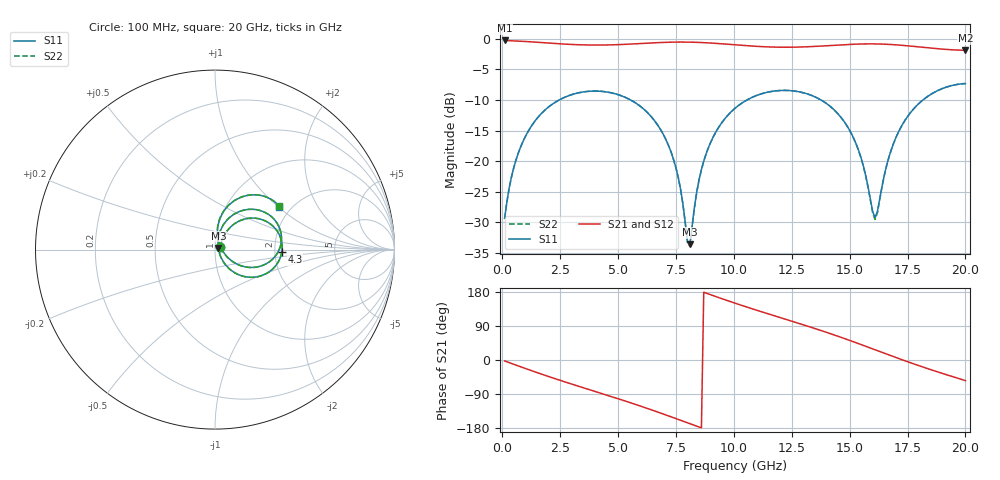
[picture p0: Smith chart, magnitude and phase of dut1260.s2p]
! Touchstone file exported from HFSS 2026.1.0
!  File:  C:/ffzhzh/LocalFiles/Ansys_Project_Files/temp_train_TSV_RDL_1260_1783326826_30076.aedt
!  Generated:  04:47:06 PM Jul  6, 2026
!  Design:  TSV_RDL
!  Project:  temp_train_TSV_RDL_1260_1783326826_30076
! Variables:
!  h_bsmrdl = 5.32um
!  h_ox = 20um
!  h_rdl = 5um
!  h_sub = 95.09um
!  h_tmrdl = 3.47um
!  h_tsv = 95.09um
!  h_via = 3um
!  l_bsmrdl = 841.24um
!  l_sub = 6587.6um
!  l_tmrdl = 885.97um
!  m_sub = 200um
!  pitch = 38.83um
!  r_tsv = 13.47um
!  s_tmrdl = 10um
!  w_bsmrdl = 22.62um
!  w_sub = 500um
!  w_tmrdl = 17.38um
!  x_tsv_center1 = 894.66um
!  x_tsv_center2 = 1758.52um
!  x_tsv_center3 = 2661.87um
!  x_tsv_center4 = 3525.73um
!  x_tsv_center5 = 4429.08um
!  x_tsv_center6 = 5292.94um
# GHz S MA R 50.000000
! Terminal data exported
! Port[1] = TM_RDL1_1_T1
! Port[2] = TM_RDL5_1_T1
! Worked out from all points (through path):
!   200 points, 100 MHz to 20 GHz, reference 50 ohm
!   highest |S21| = -0.26 dB at 100 MHz (marker M1); lowest = -1.9 dB at 20 GHz (marker M2)
!   group delay of S21, straight-line fit = 57.5 ps
!   lowest |S11| = -33.6 dB at 8.1 GHz (marker M3), VSWR 1.04, Z = 51.9 + j0.967 ohm
!   |S11| at or under -10 dB: start of sweep to 2.448 GHz; 5.549 GHz to 10.56 GHz (5.01 GHz wide, 62.2 % of centre); 13.77 GHz to 18.16 GHz (4.39 GHz wide, 27.5 % of centre)
!   |S22| runs from -33.9 to -7.3 dB; largest |S21 - S12| = 1.7e-14
!   S11 on the Smith chart (normalised r, x): 100 MHz: 1.06, +0.04; 4.3 GHz: 2.18, -0.07; 20 GHz: 1.74, +1.02
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0.1  0.03413 30.0  0.971 -2.4  0.971 -2.4  0.03413 30.0
! Gamma 0 0 0 0
! Port Impedance 50 0 50 0
0.5  0.08924 56.6  0.9631 -11.5  0.9631 -11.5  0.08924 56.6
1.2  0.1864 52.3  0.9473 -26.8  0.9473 -26.8  0.1864 52.3
3.5  0.3686 12.3  0.8931 -73.3  0.8931 -73.3  0.3686 12.3
4.3  0.3724 -2.0  0.8907 -88.6  0.8907 -88.6  0.3724 -2.1
5.6  0.3124 -25.7  0.9083 -114.1  0.9083 -114.1  0.3124 -25.8
6.8  0.1861 -47.4  0.9334 -139.2  0.9334 -139.2  0.1861 -47.6
7.5  0.08818 -55.3  0.9416 -154.6  0.9416 -154.6  0.08809 -55.8
7.8  0.04481 -48.5  0.9422 -161.3  0.9422 -161.3  0.04456 -49.3
8  0.02192 -13.8  0.9415 -165.7  0.9415 -165.7  0.02131 -14.8
8.1  0.02091 26.5  0.9408 -168.0  0.9408 -168.0  0.02022 26.8
8.4  0.05639 71.6  0.9374 -174.6  0.9374 -174.6  0.05607 72.2
8.8  0.1146 73.7  0.93 176.5  0.93 176.5  0.1144 74.0
10.1  0.2759 53.2  0.893 149.0  0.893 149.0  0.2757 53.2
11.7  0.3738 24.7  0.8574 117.7  0.8574 117.7  0.3737 24.7
13.4  0.3426 -4.9  0.8659 85.1  0.8659 85.1  0.3424 -5.0
15.1  0.1649 -32.2  0.9032 49.6  0.9032 49.6  0.1646 -32.5
15.6  0.0905 -32.4  0.9095 38.4  0.9095 38.4  0.08995 -33.1
16.1  0.03471 24.8  0.9099 27.0  0.9099 27.0  0.03345 25.0
16.7  0.1085 82.6  0.9016 13.3  0.9016 13.3  0.1082 83.3
18  0.2975 67.7  0.8595 -15.1  0.8595 -15.1  0.2975 67.9
20  0.4319 33.7  0.807 -54.3  0.807 -54.3  0.4319 33.9
